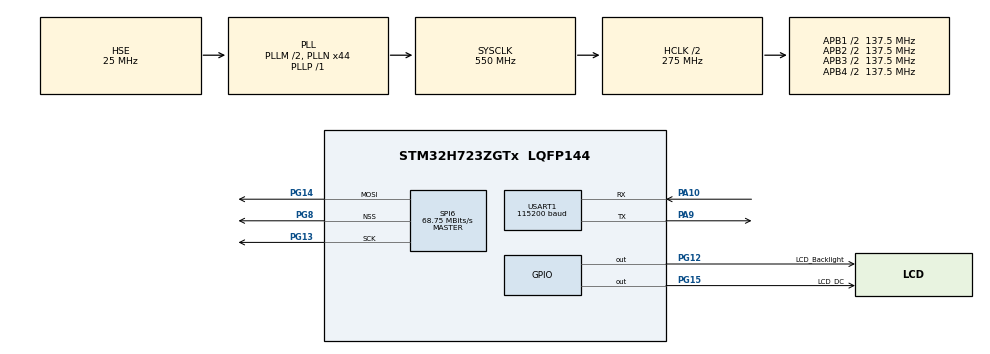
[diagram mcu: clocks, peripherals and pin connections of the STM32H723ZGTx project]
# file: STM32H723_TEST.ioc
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Bdma.Request0=SPI6_TX
Bdma.RequestsNb=1
Bdma.SPI6_TX.0.Direction=DMA_MEMORY_TO_PERIPH
Bdma.SPI6_TX.0.EventEnable=DISABLE
Bdma.SPI6_TX.0.Instance=BDMA_Channel0
Bdma.SPI6_TX.0.MemDataAlignment=DMA_MDATAALIGN_BYTE
Bdma.SPI6_TX.0.MemInc=DMA_MINC_ENABLE
Bdma.SPI6_TX.0.Mode=DMA_NORMAL
Bdma.SPI6_TX.0.PeriphDataAlignment=DMA_PDATAALIGN_BYTE
Bdma.SPI6_TX.0.PeriphInc=DMA_PINC_DISABLE
Bdma.SPI6_TX.0.Polarity=HAL_DMAMUX_REQ_GEN_RISING
Bdma.SPI6_TX.0.Priority=DMA_PRIORITY_VERY_HIGH
Bdma.SPI6_TX.0.RequestNumber=1
Bdma.SPI6_TX.0.SignalID=NONE
Bdma.SPI6_TX.0.SyncEnable=DISABLE
Bdma.SPI6_TX.0.SyncPolarity=HAL_DMAMUX_SYNC_NO_EVENT
Bdma.SPI6_TX.0.SyncRequestNumber=1
Bdma.SPI6_TX.0.SyncSignalID=NONE
CORTEX_M7.AccessPermission_Spec=MPU_REGION_FULL_ACCESS
CORTEX_M7.BaseAddress_Spec=0x24000000
CORTEX_M7.CPU_DCache=Enabled
CORTEX_M7.CPU_ICache=Enabled
CORTEX_M7.DisableExec_Spec=MPU_INSTRUCTION_ACCESS_ENABLE
CORTEX_M7.Enable_S-Cortex_Memory_Protection_Unit_Region1_Settings_S=__NULL
CORTEX_M7.IsBufferable_Spec=MPU_ACCESS_BUFFERABLE
CORTEX_M7.IsCacheable_Spec=MPU_ACCESS_CACHEABLE
CORTEX_M7.IsShareable_Spec=MPU_ACCESS_NOT_SHAREABLE
CORTEX_M7.Size_Spec=MPU_REGION_SIZE_512KB
CORTEX_M7.SubRegionDisable_Spec=0x00
CORTEX_M7.TypeExtField_Spec=MPU_TEX_LEVEL1
CORTEX_M7.default_mode_Activation=1
Dma.Request0=USART1_RX
Dma.Request1=USART1_TX
Dma.USART1_RX.0.Direction=DMA_PERIPH_TO_MEMORY
Dma.USART1_RX.0.EventEnable=DISABLE
Dma.USART1_RX.0.FIFOMode=DMA_FIFOMODE_DISABLE
Dma.USART1_RX.0.Instance=DMA1_Stream0
Dma.USART1_RX.0.MemDataAlignment=DMA_MDATAALIGN_BYTE
Dma.USART1_RX.0.MemInc=DMA_MINC_ENABLE
Dma.USART1_RX.0.Mode=DMA_NORMAL
Dma.USART1_RX.0.PeriphDataAlignment=DMA_PDATAALIGN_BYTE
Dma.USART1_RX.0.PeriphInc=DMA_PINC_DISABLE
Dma.USART1_RX.0.Polarity=HAL_DMAMUX_REQ_GEN_RISING
Dma.USART1_RX.0.Priority=DMA_PRIORITY_LOW
Dma.USART1_RX.0.RequestNumber=1
Dma.USART1_RX.0.SignalID=NONE
Dma.USART1_RX.0.SyncEnable=DISABLE
Dma.USART1_RX.0.SyncPolarity=HAL_DMAMUX_SYNC_NO_EVENT
Dma.USART1_RX.0.SyncRequestNumber=1
Dma.USART1_RX.0.SyncSignalID=NONE
Dma.USART1_TX.1.Direction=DMA_MEMORY_TO_PERIPH
Dma.USART1_TX.1.EventEnable=DISABLE
Dma.USART1_TX.1.FIFOMode=DMA_FIFOMODE_DISABLE
Dma.USART1_TX.1.Instance=DMA1_Stream1
Dma.USART1_TX.1.MemDataAlignment=DMA_MDATAALIGN_BYTE
Dma.USART1_TX.1.MemInc=DMA_MINC_ENABLE
Dma.USART1_TX.1.Mode=DMA_NORMAL
Dma.USART1_TX.1.PeriphDataAlignment=DMA_PDATAALIGN_BYTE
Dma.USART1_TX.1.PeriphInc=DMA_PINC_DISABLE
Dma.USART1_TX.1.Polarity=HAL_DMAMUX_REQ_GEN_RISING
Dma.USART1_TX.1.Priority=DMA_PRIORITY_LOW
Dma.USART1_TX.1.RequestNumber=1
Dma.USART1_TX.1.SignalID=NONE
Dma.USART1_TX.1.SyncEnable=DISABLE
Dma.USART1_TX.1.SyncPolarity=HAL_DMAMUX_SYNC_NO_EVENT
Dma.USART1_TX.1.SyncRequestNumber=1
Dma.USART1_TX.1.SyncSignalID=NONE
Mcu.Family=STM32H7
Mcu.Name=STM32H723ZGTx
Mcu.Package=LQFP144
NVIC.BDMA_Channel0_IRQn=true\:0\:0\:true\:false\:true\:false\:true\:true
NVIC.DMA1_Stream0_IRQn=true\:0\:0\:false\:false\:true\:false\:true\:true
NVIC.DMA1_Stream1_IRQn=true\:0\:0\:false\:false\:true\:false\:true\:true
NVIC.PriorityGroup=NVIC_PRIORITYGROUP_4
NVIC.SPI6_IRQn=true\:0\:0\:false\:false\:true\:false\:true\:true
NVIC.USART1_IRQn=true\:0\:0\:false\:false\:true\:true\:true\:true
PA10.Mode=Asynchronous
PA10.Signal=USART1_RX
PA13(JTMS/SWDIO).Mode=Serial_Wire
PA13(JTMS/SWDIO).Signal=DEBUG_JTMS-SWDIO
PA14(JTCK/SWCLK).Mode=Serial_Wire
PA14(JTCK/SWCLK).Signal=DEBUG_JTCK-SWCLK
PA9.Mode=Asynchronous
PA9.Signal=USART1_TX
PC14-OSC32_IN.Mode=LSE-External-Oscillator
PC14-OSC32_IN.Signal=RCC_OSC32_IN
PC15-OSC32_OUT.Mode=LSE-External-Oscillator
PC15-OSC32_OUT.Signal=RCC_OSC32_OUT
PG12.GPIO_Label=LCD_Backlight
PG12.GPIO_PuPd=GPIO_PULLDOWN
PG12.GPIO_Speed=GPIO_SPEED_FREQ_VERY_HIGH
PG12.Signal=GPIO_Output
PG13.GPIO_Speed=GPIO_SPEED_FREQ_VERY_HIGH
PG13.Mode=TX_Only_Simplex_Unidirect_Master
PG13.Signal=SPI6_SCK
PG14.GPIO_Speed=GPIO_SPEED_FREQ_VERY_HIGH
PG14.Mode=TX_Only_Simplex_Unidirect_Master
PG14.Signal=SPI6_MOSI
PG15.GPIO_Label=LCD_DC
PG15.GPIO_Speed=GPIO_SPEED_FREQ_VERY_HIGH
PG15.Signal=GPIO_Output
PG8.GPIO_Speed=GPIO_SPEED_FREQ_VERY_HIGH
PG8.Mode=NSS_Signal_Hard_Output
PG8.Signal=SPI6_NSS
PH0-OSC_IN.Mode=HSE-External-Oscillator
PH0-OSC_IN.Signal=RCC_OSC_IN
PH1-OSC_OUT.Mode=HSE-External-Oscillator
PH1-OSC_OUT.Signal=RCC_OSC_OUT
ProjectManager.HeapSize=0x200
ProjectManager.StackSize=0x400
ProjectManager.TargetToolchain=MDK-ARM V5.32
RCC.ADCFreq_Value=50390625
RCC.APB1Freq_Value=137500000
RCC.APB2Freq_Value=137500000
RCC.APB3Freq_Value=137500000
RCC.APB4Freq_Value=137500000
RCC.CortexFreq_Value=550000000
RCC.D1PPRE=RCC_APB3_DIV2
RCC.D2PPRE1=RCC_APB1_DIV2
RCC.D2PPRE2=RCC_APB2_DIV2
RCC.D3PPRE=RCC_APB4_DIV2
RCC.DIVM1=2
RCC.DIVN1=44
RCC.DIVP1=1
RCC.HCLKFreq_Value=275000000
RCC.HPRE=RCC_HCLK_DIV2
RCC.PLLFRACN=0
RCC.PLLSourceVirtual=RCC_PLLSOURCE_HSE
RCC.SYSCLKFreq_VALUE=550000000
RCC.SYSCLKSource=RCC_SYSCLKSOURCE_PLLCLK
RCC.USBFreq_Value=275000000
SPI6.CalculateBaudRate=68.75 MBits/s
SPI6.DataSize=SPI_DATASIZE_8BIT
SPI6.Direction=SPI_DIRECTION_2LINES_TXONLY
SPI6.FifoThreshold=SPI_FIFO_THRESHOLD_02DATA
SPI6.Mode=SPI_MODE_MASTER
SPI6.TIMode=SPI_TIMODE_DISABLE
SPI6.VirtualNSS=VM_NSSHARD
SPI6.VirtualType=VM_MASTER
USART1.AutoBaudRateEnableParam=UART_ADVFEATURE_AUTOBAUDRATE_DISABLE
USART1.BaudRate=115200
USART1.VirtualMode-Asynchronous=VM_ASYNC
board=custom

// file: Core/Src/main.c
/* USER CODE BEGIN Header */
/**
  ******************************************************************************
  * @file           : main.c
  * @brief          : Main program body
  ******************************************************************************
  * @attention
  *
  * Copyright (c) 2024 STMicroelectronics.
  * All rights reserved.
  *
  * This software is licensed under terms that can be found in the LICENSE file
  * in the root directory of this software component.
  * If no LICENSE file comes with this software, it is provided AS-IS.
  *
  ******************************************************************************
  */
/* USER CODE END Header */
#include "main.h"
#include "bdma.h"
#include "dma.h"
#include "spi.h"
#include "usart.h"
#include "gpio.h"

/* USER CODE BEGIN Includes */
#include "stdio.h"
#include "ST7789.h"
/* USER CODE END Includes */

/* USER CODE BEGIN PV */
uint8_t data1[LCD_RAM_SIZE];
uint8_t data2[LCD_RAM_SIZE];

volatile uint8_t one_frame_done;
/* USER CODE END PV */

void SystemClock_Config(void);
static void MPU_Config(void);
/* USER CODE BEGIN PFP */
int fputc(int ch, FILE *f) {
	HAL_UART_Transmit(&huart1, (uint8_t *)&ch, 1, 0xFF);
	return ch;
}

void HAL_SPI_TxCpltCallback(SPI_HandleTypeDef *hspi)
{
	printf("donw\r\n");
	one_frame_done = 1;
}
void HAL_UART_TxCpltCallback(UART_HandleTypeDef *huart) {

}
/* USER CODE END PFP */

int main(void)
{

  /* MPU Configuration--------------------------------------------------------*/
  MPU_Config();

  /* Enable I-Cache---------------------------------------------------------*/
  SCB_EnableICache();

  /* Enable D-Cache---------------------------------------------------------*/
  SCB_EnableDCache();

  /* MCU Configuration--------------------------------------------------------*/

  /* Reset of all peripherals, Initializes the Flash interface and the Systick. */
  HAL_Init();

  /* Configure the system clock */
  SystemClock_Config();

  /* Initialize all configured peripherals */
  MX_GPIO_Init();
  MX_BDMA_Init();
  MX_DMA_Init();
  MX_USART1_UART_Init();
  MX_SPI6_Init();
  /* USER CODE BEGIN 2 */

	LCD_Init();

	for(uint16_t j = 0; j < Pixel_NUM; j++) {
		data1[j * 2] = (uint8_t)(0x2fe0 >> 8);
		data1[j * 2 + 1] =  (uint8_t)(0x2fe0);
	}
	for(uint16_t j = 0; j < Pixel_NUM; j++) {
		data2[j * 2] = (uint8_t)(0xffff >> 8);
		data2[j * 2 + 1] =  (uint8_t)(0xffff);
	}

	printf("STM32H723\r\n");
  /* USER CODE END 2 */

  /* Infinite loop */
  /* USER CODE BEGIN WHILE */
  while (1)
  {
		/*��ʾ��һ֡*/
		one_frame_done = 0;
		LCD_Fill_first_half((uint8_t *)data1);
//		while(!one_frame_done){/*release cpu and doing something else*/}

		HAL_Delay(1000);

		one_frame_done = 0;
		LCD_Fill_last_half((uint8_t *)data1);
//		while(!one_frame_done){/*release cpu and doing something else*/}

		HAL_Delay(1000);

		/*��ʾ�ڶ�֡*/
		one_frame_done = 0;
		LCD_Fill_first_half((uint8_t *)data2);
//		while(!one_frame_done){/*release cpu and doing something else*/}

		HAL_Delay(1000);

		one_frame_done = 0;
		LCD_Fill_last_half((uint8_t *)data2);
//		while(!one_frame_done){/*release cpu and doing something else*/}

		HAL_Delay(1000);
    /* USER CODE END WHILE */

  }
}

void SystemClock_Config(void)
{
  RCC_OscInitTypeDef RCC_OscInitStruct = {0};
  RCC_ClkInitTypeDef RCC_ClkInitStruct = {0};

  /** Supply configuration update enable
  */
  HAL_PWREx_ConfigSupply(PWR_LDO_SUPPLY);

  /** Configure the main internal regulator output voltage
  */
  __HAL_PWR_VOLTAGESCALING_CONFIG(PWR_REGULATOR_VOLTAGE_SCALE0);

  while(!__HAL_PWR_GET_FLAG(PWR_FLAG_VOSRDY)) {}

  /** Initializes the RCC Oscillators according to the specified parameters
  * in the RCC_OscInitTypeDef structure.
  */
  RCC_OscInitStruct.OscillatorType = RCC_OSCILLATORTYPE_HSE;
  RCC_OscInitStruct.HSEState = RCC_HSE_ON;
  RCC_OscInitStruct.PLL.PLLState = RCC_PLL_ON;
  RCC_OscInitStruct.PLL.PLLSource = RCC_PLLSOURCE_HSE;
  RCC_OscInitStruct.PLL.PLLM = 2;
  RCC_OscInitStruct.PLL.PLLN = 44;
  RCC_OscInitStruct.PLL.PLLP = 1;
  RCC_OscInitStruct.PLL.PLLQ = 2;
  RCC_OscInitStruct.PLL.PLLR = 2;
  RCC_OscInitStruct.PLL.PLLRGE = RCC_PLL1VCIRANGE_3;
  RCC_OscInitStruct.PLL.PLLVCOSEL = RCC_PLL1VCOWIDE;
  RCC_OscInitStruct.PLL.PLLFRACN = 0;
  if (HAL_RCC_OscConfig(&RCC_OscInitStruct) != HAL_OK)
  {
    Error_Handler();
  }

  /** Initializes the CPU, AHB and APB buses clocks
  */
  RCC_ClkInitStruct.ClockType = RCC_CLOCKTYPE_HCLK|RCC_CLOCKTYPE_SYSCLK
                              |RCC_CLOCKTYPE_PCLK1|RCC_CLOCKTYPE_PCLK2
                              |RCC_CLOCKTYPE_D3PCLK1|RCC_CLOCKTYPE_D1PCLK1;
  RCC_ClkInitStruct.SYSCLKSource = RCC_SYSCLKSOURCE_PLLCLK;
  RCC_ClkInitStruct.SYSCLKDivider = RCC_SYSCLK_DIV1;
  RCC_ClkInitStruct.AHBCLKDivider = RCC_HCLK_DIV2;
  RCC_ClkInitStruct.APB3CLKDivider = RCC_APB3_DIV2;
  RCC_ClkInitStruct.APB1CLKDivider = RCC_APB1_DIV2;
  RCC_ClkInitStruct.APB2CLKDivider = RCC_APB2_DIV2;
  RCC_ClkInitStruct.APB4CLKDivider = RCC_APB4_DIV2;

  if (HAL_RCC_ClockConfig(&RCC_ClkInitStruct, FLASH_LATENCY_3) != HAL_OK)
  {
    Error_Handler();
  }
}

/* MPU Configuration */

void MPU_Config(void)
{
  MPU_Region_InitTypeDef MPU_InitStruct = {0};

  /* Disables the MPU */
  HAL_MPU_Disable();

  /** Initializes and configures the Region and the memory to be protected
  */
  MPU_InitStruct.Enable = MPU_REGION_ENABLE;
  MPU_InitStruct.Number = MPU_REGION_NUMBER0;
  MPU_InitStruct.BaseAddress = 0x24000000;
  MPU_InitStruct.Size = MPU_REGION_SIZE_512KB;
  MPU_InitStruct.SubRegionDisable = 0x00;
  MPU_InitStruct.TypeExtField = MPU_TEX_LEVEL1;
  MPU_InitStruct.AccessPermission = MPU_REGION_FULL_ACCESS;
  MPU_InitStruct.DisableExec = MPU_INSTRUCTION_ACCESS_ENABLE;
  MPU_InitStruct.IsShareable = MPU_ACCESS_NOT_SHAREABLE;
  MPU_InitStruct.IsCacheable = MPU_ACCESS_CACHEABLE;
  MPU_InitStruct.IsBufferable = MPU_ACCESS_BUFFERABLE;

  HAL_MPU_ConfigRegion(&MPU_InitStruct);
  /* Enables the MPU */
  HAL_MPU_Enable(MPU_PRIVILEGED_DEFAULT);

}

void Error_Handler(void)
{
  __disable_irq();
  while (1)
  {
  }
}
